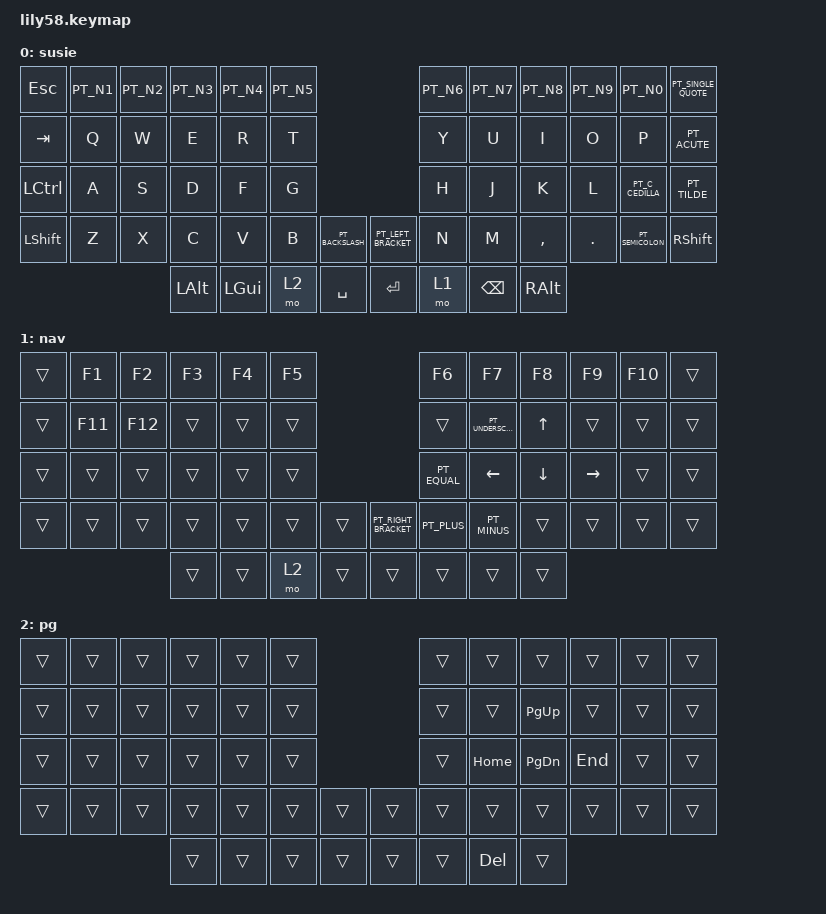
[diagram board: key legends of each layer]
#include "keys_pt_abnt2.h"
#include <behaviors.dtsi>
#include <dt-bindings/zmk/keys.h>

/ {
    /*
    behaviors {
        inverted1: inverted1 {
            compatible = "zmk,behavior-mod-morph";
            #binding-cells = <0>;
            bindings = <&kp PT_EXCL>, <&kp PT_N1>;

            mods = <(MOD_LSFT|MOD_RSFT)>;
        };

        inverted2: inverted2 {
            compatible = "zmk,behavior-mod-morph";
            #binding-cells = <0>;
            bindings = <&kp PT_AT>, <&kp PT_N2>;

            mods = <(MOD_LSFT|MOD_RSFT)>;
        };

        inverted3: inverted3 {
            compatible = "zmk,behavior-mod-morph";
            #binding-cells = <0>;
            bindings = <&kp PT_HASH>, <&kp PT_N3>;

            mods = <(MOD_LSFT|MOD_RSFT)>;
        };

        inverted4: inverted4 {
            compatible = "zmk,behavior-mod-morph";
            #binding-cells = <0>;
            bindings = <&kp PT_DLLR>, <&kp PT_N4>;

            mods = <(MOD_LSFT|MOD_RSFT)>;
        };

        inverted5: inverted5 {
            compatible = "zmk,behavior-mod-morph";
            #binding-cells = <0>;
            bindings = <&kp PT_PRCNT>, <&kp PT_N5>;

            mods = <(MOD_LSFT|MOD_RSFT)>;
        };

        inverted6: inverted6 {
            compatible = "zmk,behavior-mod-morph";
            #binding-cells = <0>;
            bindings = <&kp PT_TREMA>, <&kp PT_N6>;

            mods = <(MOD_LSFT|MOD_RSFT)>;
        }; // Handles the ABNT2 trema (¨)
        inverted7: inverted7 {
            compatible = "zmk,behavior-mod-morph";
            #binding-cells = <0>;
            bindings = <&kp PT_AMPS>, <&kp PT_N7>;

            mods = <(MOD_LSFT|MOD_RSFT)>;
        };

        inverted8: inverted8 {
            compatible = "zmk,behavior-mod-morph";
            #binding-cells = <0>;
            bindings = <&kp PT_ASTRK>, <&kp PT_N8>;

            mods = <(MOD_LSFT|MOD_RSFT)>;
        };

        inverted9: inverted9 {
            compatible = "zmk,behavior-mod-morph";
            #binding-cells = <0>;
            bindings = <&kp PT_LPAR>, <&kp PT_N9>;

            mods = <(MOD_LSFT|MOD_RSFT)>;
        };

        inverted0: inverted0 {
            compatible = "zmk,behavior-mod-morph";
            #binding-cells = <0>;
            bindings = <&kp PT_RPAR>, <&kp PT_N0>;

            mods = <(MOD_LSFT|MOD_RSFT)>;
        };
    };
    */

    keymap {
        compatible = "zmk,keymap";

        susie {
            bindings = <
&kp ESC     &kp PT_N1  &kp PT_N2  &kp PT_N3  &kp PT_N4  &kp PT_N5                                           &kp PT_N6  &kp PT_N7      &kp PT_N8  &kp PT_N9  &kp PT_N0         &kp PT_SINGLE_QUOTE
&kp TAB     &kp Q      &kp W      &kp E      &kp R      &kp T                                               &kp Y      &kp U          &kp I      &kp O      &kp P             &kp PT_ACUTE
&kp LCTRL   &kp A      &kp S      &kp D      &kp F      &kp G                                               &kp H      &kp J          &kp K      &kp L      &kp PT_C_CEDILLA  &kp PT_TILDE
&kp LSHIFT  &kp Z      &kp X      &kp C      &kp V      &kp B      &kp PT_BACKSLASH    &kp PT_LEFT_BRACKET  &kp N      &kp M          &kp COMMA  &kp DOT    &kp PT_SEMICOLON  &kp RSHIFT
                                  &kp LALT   &kp LGUI   &mo 2      &kp SPACE           &kp ENTER            &mo 1      &kp BACKSPACE  &kp RALT
            >;
        };

        nav {
            bindings = <
&trans  &kp F1   &kp F2   &kp F3  &kp F4  &kp F5                                  &kp F6        &kp F7             &kp F8          &kp F9           &kp F10  &trans
&trans  &kp F11  &kp F12  &trans  &trans  &trans                                  &trans        &kp PT_UNDERSCORE  &kp UP_ARROW    &trans           &trans   &trans
&trans  &trans   &trans   &trans  &trans  &trans                                  &kp PT_EQUAL  &kp LEFT_ARROW     &kp DOWN_ARROW  &kp RIGHT_ARROW  &trans   &trans
&trans  &trans   &trans   &trans  &trans  &trans  &trans    &kp PT_RIGHT_BRACKET  &kp PT_PLUS   &kp PT_MINUS       &trans          &trans           &trans   &trans
                          &trans  &trans  &mo 2   &trans    &trans                &trans        &trans             &trans
            >;
        };

        pg {
            bindings = <
&trans  &trans  &trans  &trans  &trans  &trans                    &trans  &trans    &trans         &trans   &trans  &trans
&trans  &trans  &trans  &trans  &trans  &trans                    &trans  &trans    &kp PAGE_UP    &trans   &trans  &trans
&trans  &trans  &trans  &trans  &trans  &trans                    &trans  &kp HOME  &kp PAGE_DOWN  &kp END  &trans  &trans
&trans  &trans  &trans  &trans  &trans  &trans  &trans    &trans  &trans  &trans    &trans         &trans   &trans  &trans
                        &trans  &trans  &trans  &trans    &trans  &trans  &kp DEL   &trans
            >;
        };

        /*
            math {
                bindings = <
    &trans  &trans  &trans  &trans  &trans  &trans                                  &trans  &kp N7   &kp N8  &kp N9  &trans  &trans
    &trans  &trans  &trans  &trans  &trans  &trans                                  &trans  &kp N4   &kp N5  &kp N6  &trans  &trans
    &trans  &trans  &trans  &trans  &trans  &trans                                  &trans  &kp N1   &kp N2  &kp N3  &trans  &trans
    &trans  &trans  &trans  &trans  &trans  &trans  &trans    &kp PT_RIGHT_BRACKET  &trans  &kp N0   &trans  &trans  &trans  &trans
                            &trans  &trans  &trans  &trans    &trans                &trans  &kp DEL  &trans
                >;
            };
        */

        /*
        toAssign {
            bindings = <
&kp BSLH  &kp PAGE_DOWN  &kp PAGE_UP  &kp HOME          &kp END          &kp ENTER                           &kp BACKSPACE  &kp DEL    &kp RIGHT_PARENTHESIS  &kp LEFT_PARENTHESIS  &kp LEFT_BRACKET  &kp RIGHT_BRACKET
&kp PIPE  &kp SEMICOLON  &kp COLON    &kp SINGLE_QUOTE  &kp K_VOLUME_UP  &kp PT_C_CEDILLA                    &kp PT_TILDE   &kp QMARK  &trans                 &trans                &trans            &trans
&kp A     &kp S          &kp S        &kp I             &kp G            &kp N                               &kp Y          &kp M      &kp B                  &kp O                 &kp L             &kp S
&trans    &trans         &trans       &trans            &trans           &trans            &trans    &kp S   &kp COMMA      &kp M      &kp A                  &kp T                 &kp H             &kp COMMA
                                      &trans            &trans           &trans            &trans    &trans  &kp E          &kp T      &kp C
            >;
        };
*/
    };
};
